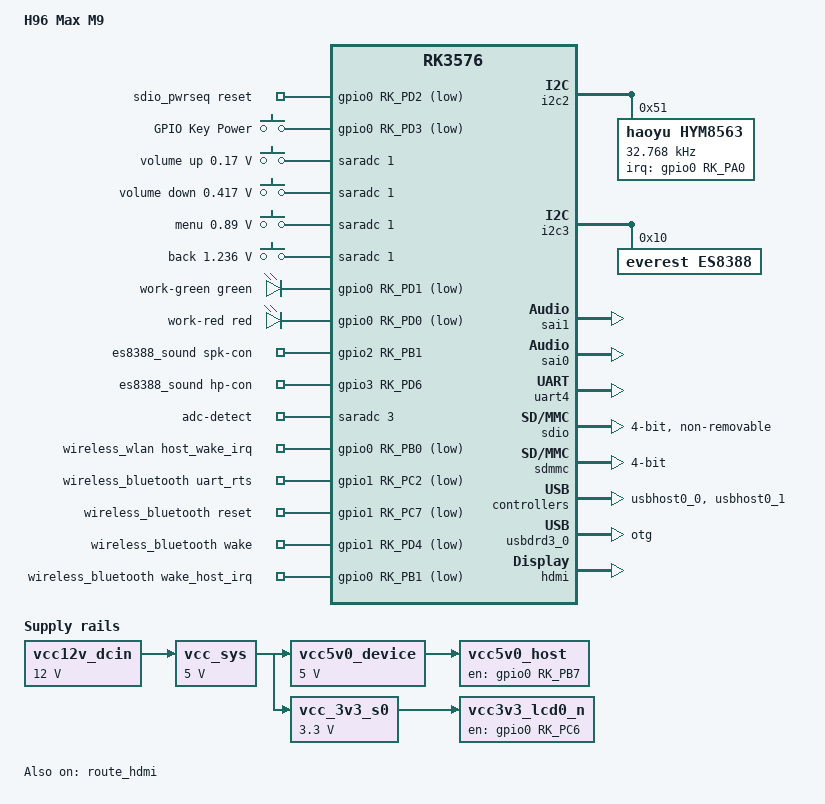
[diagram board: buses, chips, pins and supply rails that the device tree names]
// SPDX-License-Identifier: (GPL-2.0+ OR MIT)
/*
 * H96 Max M9 (RK3576) board device tree — vendor 6.1.141 (Armbian "vendor_6.1.115")
 *
 * Target kernel: Rockchip SDK linux-6.1.141 (rk-linux6.1-2026060914)
 *   -> Armbian branch: rk3576 / rockchip64 vendor, KVER ~6.1.115
 *
 * Derived from:
 *   - /Volumes/share/H96s/Android提取/android-.dts   (running Android 14, kernel 6.1.75)
 *   - SDK ref board: arch/arm64/boot/dts/rockchip/rk3576-evb1.dtsi
 *
 * Pin map below is taken from the RUNNING Android system (gpio-status.txt), which is
 * authoritative — the decompiled android-.dts had copy/paste errors we fix here.
 *
 * !! KNOWN HARDWARE CONFLICTS RESOLVED HERE (verify on your board):
 *   1) gpio0_25 (RK_PD1) is driven by BOTH "work-green" LED and a usb_otg0_pwren pinctrl
 *      in the Android DTS. The running system only exposes it as "work-green" — there is NO
 *      OTG-5V regulator on this pin. => We give gpio0_25 to the LED and DO NOT put a GPIO
 *      regulator on it for OTG. If your OTG port needs 5V, it is likely self/bus-powered.
 *   2) hp-det-gpio in android-.dts was set to gpio0_27 (RK_PD3) — the SAME pin as the power
 *      key. That is a vendor copy bug. We DROP hp-det-gpio and the hp_det pinctrl to avoid a
 *      gpio-keys vs audio driver clash; find the real headphone-detect pin from the schematic
 *      if you need jack detection.
 *   3) gpio1_22 (RK_PC6) is shared by "pwr-wifi" LED and the WiFi power-enable
 *      (wifi_poweren_gpio). We let the sdio_pwrseq own the pin and DROP the pwr-wifi LED.
 *
 * WiFi/BT:
 *   Module = AIC8800DC (SDIO id 0x390b, confirmed from dmesg + shield marking "L8800D").
 *   The in-kernel driver is OUT-OF-TREE (drivers/net/wireless/aic8800 from the 6.1.75
 *   Android vendor, ported to 6.1.141). The wlan-platdata / bluetooth-platdata nodes below
 *   ARE consumed by net/rfkill/rfkill-wlan.c and rfkill-bt.c which still exist in 6.1.141.
 */

/dts-v1/;

#include <dt-bindings/gpio/gpio.h>
#include <dt-bindings/input/input.h>
#include <dt-bindings/interrupt-controller/irq.h>
#include <dt-bindings/pinctrl/rockchip.h>
#include "rk3576.dtsi"

/ {
	model = "H96 Max M9";
	compatible = "rockchip,rk3576-h96-m9s", "rockchip,rk3576";

	aliases {
		ethernet0 = &gmac0;
	};

	chosen {
		stdout-path = "serial2:1500000n8";
	};

	/* ---------- board fixed regulators (verified from running Android) ---------- */
	vcc5v0_host: vcc5v0-host {
		compatible = "regulator-fixed";
		regulator-name = "vcc5v0_host";
		regulator-boot-on;
		regulator-always-on;
		enable-active-high;
		gpio = <&gpio0 RK_PB7 GPIO_ACTIVE_HIGH>;		/* gpio0_23 */
		pinctrl-names = "default";
		pinctrl-0 = <&usb_host_pwren>;
		vin-supply = <&vcc5v0_device>;
	};

	vcc3v3_lcd0_n: vcc3v3-lcd0-n {
		compatible = "regulator-fixed";
		regulator-name = "vcc3v3_lcd0_n";
		regulator-boot-on;
		enable-active-high;
		gpio = <&gpio0 RK_PC6 GPIO_ACTIVE_HIGH>;		/* gpio0_22 */
		pinctrl-names = "default";
		pinctrl-0 = <&lcd_pwren>;
		vin-supply = <&vcc_3v3_s0>;
	};

	vcc5v0_device: vcc5v0-device {
		compatible = "regulator-fixed";
		regulator-name = "vcc5v0_device";
		regulator-boot-on;
		regulator-always-on;
		regulator-min-microvolt = <5000000>;
		regulator-max-microvolt = <5000000>;
		vin-supply = <&vcc_sys>;
	};

	vcc_sys: vcc-sys {
		compatible = "regulator-fixed";
		regulator-name = "vcc_sys";
		regulator-boot-on;
		regulator-always-on;
		regulator-min-microvolt = <5000000>;
		regulator-max-microvolt = <5000000>;
		vin-supply = <&vcc12v_dcin>;
	};

	vcc12v_dcin: vcc12v-dcin {
		compatible = "regulator-fixed";
		regulator-name = "vcc12v_dcin";
		regulator-boot-on;
		regulator-always-on;
		regulator-min-microvolt = <12000000>;
		regulator-max-microvolt = <12000000>;
	};

	/* 3.3V system rail (normally supplied by the RK806 PMIC dtsi; defined here so the
	 * board DTS is self-contained without pulling in a PMIC dtsi). */
	vcc_3v3_s0: vcc-3v3-s0 {
		compatible = "regulator-fixed";
		regulator-name = "vcc_3v3_s0";
		regulator-boot-on;
		regulator-always-on;
		regulator-min-microvolt = <3300000>;
		regulator-max-microvolt = <3300000>;
		vin-supply = <&vcc_sys>;
	};

	/* SDIO power-on sequence for AIC8800
	 * power-enable on gpio1_22, reset on gpio0_26 (active LOW, confirmed from android DTS) */
	sdio_pwrseq: sdio-pwrseq {
		compatible = "mmc-pwrseq-simple";
		pinctrl-names = "default";
		pinctrl-0 = <&wifi_poweren_gpio>;			/* gpio1_22 = pwr-wifi */
		post-power-on-delay-ms = <200>;
		reset-gpios = <&gpio0 RK_PD2 GPIO_ACTIVE_LOW>;	/* gpio0_26, reset low-active */
		status = "okay";
	};

	/* ---------- power + adc keys ---------- */
	gpio_keys: gpio-keys {
		compatible = "gpio-keys";
		autorepeat;

		power: power-key {
			debounce-interval = <100>;
			gpios = <&gpio0 RK_PD3 GPIO_ACTIVE_LOW>;	/* gpio0_27 */
			label = "GPIO Key Power";
			linux,code = <KEY_POWER>;
			wakeup-source;
		};
	};

	adc_keys: adc-keys {
		compatible = "adc-keys";
		io-channels = <&saradc 1>;
		io-channel-names = "buttons";
		keyup-threshold-microvolt = <1800000>;
		poll-interval = <100>;

		vol-up-key {
			label = "volume up";
			linux,code = <KEY_VOLUMEUP>;
			press-threshold-microvolt = <170000>;
		};
		vol-down-key {
			label = "volume down";
			linux,code = <KEY_VOLUMEDOWN>;
			press-threshold-microvolt = <417000>;
		};
		menu-key {
			label = "menu";
			linux,code = <KEY_MENU>;
			press-threshold-microvolt = <890000>;
		};
		back-key {
			label = "back";
			linux,code = <KEY_BACK>;
			press-threshold-microvolt = <1236000>;
		};
	};

	/* ---------- LEDs (active-low GPIOs) ---------- */
	leds: leds {
		compatible = "gpio-leds";

		work-green {
			gpios = <&gpio0 RK_PD1 GPIO_ACTIVE_LOW>;	/* gpio0_25 */
			color = <LED_COLOR_ID_GREEN>;
			linux,default-trigger = "default-on";
		};
		work-red {
			gpios = <&gpio0 RK_PD0 GPIO_ACTIVE_LOW>;	/* gpio0_24 */
			color = <LED_COLOR_ID_RED>;
			linux,default-trigger = "none";
			default-state = "off";
		};
		/* pwr-wifi LED intentionally omitted: gpio1_22 is owned by sdio_pwrseq */
	};

	/* ---------- ES8388 analog audio (vendor multicodecs-card) ---------- */
	es8388_sound: es8388-sound {
		status = "okay";
		compatible = "rockchip,multicodecs-card";
		rockchip,card-name = "rockchip-es8388";
		/* hp-det-gpio intentionally removed: android-.dts wrongly shared gpio0_27 (power key) */
		io-channels = <&saradc 3>;
		io-channel-names = "adc-detect";
		keyup-threshold-microvolt = <1800000>;
		poll-interval = <100>;
		spk-con-gpio = <&gpio2 RK_PB1 GPIO_ACTIVE_HIGH>;	/* gpio2_9 (phandle 0xe3 in android) */
		hp-con-gpio = <&gpio3 RK_PD6 GPIO_ACTIVE_HIGH>;	/* gpio3_30 (phandle 0x109 in android) */
		rockchip,pre-power-on-delay-ms = <30>;
		rockchip,post-power-down-delay-ms = <40>;
		rockchip,format = "i2s";
		rockchip,mclk-fs = <256>;
		rockchip,cpu = <&sai1>;
		rockchip,codec = <&es8388>;
		rockchip,audio-routing =
			"Headphone", "LOUT1",
			"Headphone", "ROUT1",
			"Speaker", "LOUT2",
			"Speaker", "ROUT2",
			"Headphone", "Headphone Power",
			"Headphone", "Headphone Power",
			"Speaker", "Speaker Power",
			"Speaker", "Speaker Power",
			"LINPUT1", "Main Mic",
			"LINPUT2", "Main Mic",
			"RINPUT1", "Headset Mic",
			"RINPUT2", "Headset Mic";

		play-pause-key {
			label = "playpause";
			linux,code = <KEY_PLAYPAUSE>;
			press-threshold-microvolt = <2000>;
		};
	};

	/* ---------- HDMI audio (RK internal HDMI, vendor sai0 path) ----------
	 * NOTE: Android used i2s0_8ch + ht5010 dummy-codec, but vendor 6.1.141 renames the I2S
	 * controllers to sai0..sai9, so we bind to &sai0 and &hdmi here. */
	hdmi_sound: hdmi-sound {
		compatible = "simple-audio-card";
		simple-audio-card,name = "rockchip-hdmi";
		simple-audio-card,format = "i2s";
		simple-audio-card,mclk-fs = <256>;
		status = "okay";

		simple-audio-card,cpu {
			sound-dai = <&sai0>;
		};
		simple-audio-card,codec {
			sound-dai = <&hdmi>;
		};
	};

	/* ---------- WiFi (AIC8800) platform data ----------
	 * consumed by net/rfkill/rfkill-wlan.c (present in 6.1.141). The real WiFi driver is the
	 * out-of-tree aicwf_sdio.ko built against this tree. wlan-platdata supplies the host-wake
	 * IRQ gpio. wifi_chip_type is passed through to the aic driver as a string. */
	wireless_wlan: wireless-wlan {
		compatible = "wlan-platdata";
		wifi_chip_type = "aic8800";
		pinctrl-names = "default";
		pinctrl-0 = <&wifi_host_wake_irq>;
		WIFI,host_wake_irq = <&gpio0 RK_PB0 GPIO_ACTIVE_LOW>;	/* gpio0_8 */
		status = "okay";
	};

	/* ---------- Bluetooth (AIC8800) platform data ----------
	 * consumed by net/rfkill/rfkill-bt.c (present in 6.1.141). aicbsp_sdio.ko is out-of-tree. */
	wireless_bluetooth: wireless-bluetooth {
		compatible = "bluetooth-platdata";
		uart_rts_gpios = <&gpio1 RK_PC2 GPIO_ACTIVE_LOW>;		/* gpio1_18 (bt rts) */
		pinctrl-names = "default", "rts_gpio";
		pinctrl-0 = <&uart4_gpios>;
		pinctrl-1 = <&uart4_gpios>;
		BT,reset_gpio = <&gpio1 RK_PC7 GPIO_ACTIVE_LOW>;		/* gpio1_23 */
		BT,wake_gpio = <&gpio1 RK_PD4 GPIO_ACTIVE_LOW>;		/* gpio1_28 */
		BT,wake_host_irq = <&gpio0 RK_PB1 GPIO_ACTIVE_LOW>;	/* gpio0_9 */
		status = "okay";
	};
};

/* ---------- I2C2: hym8563 RTC ---------- */
&i2c2 {
	status = "okay";
	pinctrl-names = "default";
	pinctrl-0 = <&i2c2m0_xfer>;

	hym8563: rtc@51 {
		compatible = "haoyu,hym8563";
		reg = <0x51>;
		#clock-cells = <0>;
		clock-frequency = <32768>;
		clock-output-names = "hym8563";
		interrupt-parent = <&gpio0>;
		interrupts = <RK_PA0 IRQ_TYPE_LEVEL_LOW>;
		wakeup-source;
	};
};

/* ---------- I2C3: ES8388 codec ---------- */
&i2c3 {
	status = "okay";
	pinctrl-names = "default";
	pinctrl-0 = <&i2c3m0_xfer>;

	es8388: es8388@10 {
		status = "okay";
		#sound-dai-cells = <0>;
		compatible = "everest,es8388", "everest,es8323";
		reg = <0x10>;
		clocks = <&mclkout_sai1>;
		clock-names = "mclk";
		assigned-clocks = <&mclkout_sai1>;
		assigned-clock-rates = <12288000>;
		pinctrl-names = "default";
		pinctrl-0 = <&sai1m0_mclk>;
	};
};

/* ---------- SAI1 (ES8388 CPU DAI) ---------- */
&sai1 {
	status = "okay";
	pinctrl-names = "default";
	pinctrl-0 = <&sai1m0_lrck
		     &sai1m0_sclk
		     &sai1m0_sdi0
		     &sai1m0_sdo0>;
};

/* ---------- SAI0 (HDMI CPU DAI) ---------- */
&sai0 {
	status = "okay";
	pinctrl-names = "default";
	pinctrl-0 = <&sai0m0_lrck
		     &sai0m0_sclk
		     &sai0m0_sdo0
		     &sai0m0_mclk>;
};

/* ---------- UART4: Bluetooth HCI ---------- */
&uart4 {
	status = "okay";
	pinctrl-names = "default";
	pinctrl-0 = <&uart4m0_xfer &uart4m0_ctsn &uart4m0_rtsn>;
};

/* ---------- SDIO: AIC8800 WiFi ----------
 * NOTE: in rk3576.dtsi the WiFi SDIO controller is labelled "sdio" (mmc@2a320000), NOT sdmmc0.
 * The SD card slot is the separate "sdmmc" controller. */
&sdio {
	max-frequency = <200000000>;
	no-sd;
	no-mmc;
	bus-width = <4>;
	disable-wp;
	cap-sd-highspeed;
	cap-sdio-irq;
	keep-power-in-suspend;
	mmc-pwrseq = <&sdio_pwrseq>;
	non-removable;
	pinctrl-names = "default";
	pinctrl-0 = <&sdmmc1m0_bus4 &sdmmc1m0_clk &sdmmc1m0_cmd>;
	sd-uhs-sdr104;
	status = "okay";
};

/* SD card slot (if populated on the board) */
&sdmmc {
	status = "okay";
	bus-width = <4>;
	cap-sd-highspeed;
	broken-cd;
	pinctrl-names = "default";
	pinctrl-0 = <&sdmmc0_bus4 &sdmmc0_clk &sdmmc0_cmd>;
};

/* ---------- USB host (gpio0_23) ---------- */
&usbhost0_0 {
	status = "okay";
};

&usbhost0_1 {
	status = "okay";
};

&usbdrd3_0 {
	status = "okay";
	dr_mode = "otg";
};

/* ---------- HDMI video ---------- */
&hdmi {
	status = "okay";
};

&route_hdmi {
	status = "okay";
	connect = <&vp0_out_hdmi>;
};

/* ---------- board pin control ---------- */
&pinctrl {
	usb {
		usb_host_pwren: usb-host-pwren {
			rockchip,pins = <0 RK_PB7 RK_FUNC_GPIO &pcfg_pull_none>;	/* gpio0_23 */
		};

		lcd_pwren: lcd-pwren {
			rockchip,pins = <0 RK_PC6 RK_FUNC_GPIO &pcfg_pull_none>;	/* gpio0_22 */
		};
	};

	wireless-wlan {
		wifi_host_wake_irq: wifi-host-wake-irq {
			rockchip,pins = <0 RK_PB0 RK_FUNC_GPIO &pcfg_pull_up>;	/* gpio0_8 */
		};

		wifi_poweren_gpio: wifi-poweren-gpio {
			rockchip,pins = <1 RK_PC6 RK_FUNC_GPIO &pcfg_pull_up>;	/* gpio1_22 */
		};
	};

	wireless-bluetooth {
		uart4_gpios: uart4-gpios {
			rockchip,pins = <1 RK_PC2 RK_FUNC_GPIO &pcfg_pull_none>;	/* gpio1_18 */
		};
	};
};
